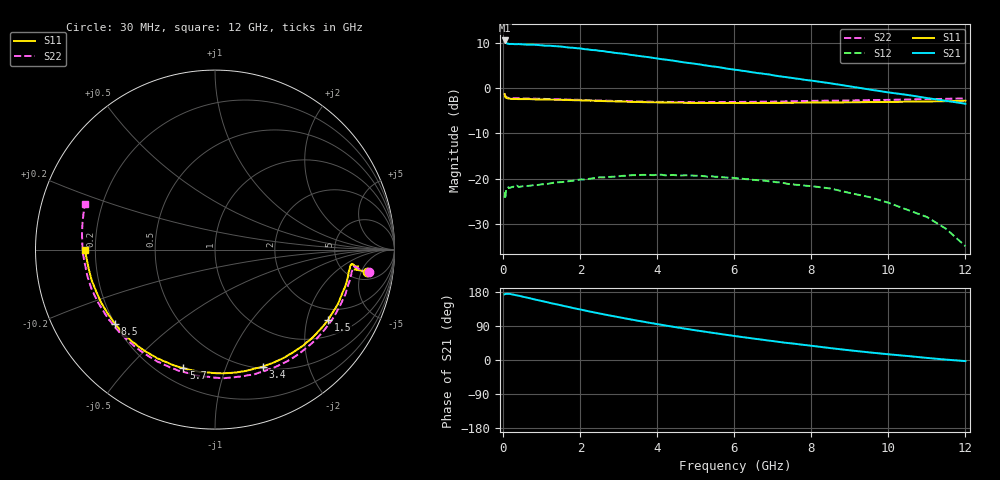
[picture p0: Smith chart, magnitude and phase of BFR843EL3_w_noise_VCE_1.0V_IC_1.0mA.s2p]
! Infineon Technologies  Discrete & RF Semiconductors
! BFR843EL3
! VCE =  1.0 V,  IC =  1.0 mA
! Common Emitter S-Parameters:  Aug 2013
# GHz  S  MA  R  50
!  f  S11  S21  S12  S22
! GHz  MAG  ANG  MAG  ANG  MAG  ANG  MAG  ANG
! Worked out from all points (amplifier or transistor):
!   103 points, 30 MHz to 12 GHz, reference 50 ohm
!   highest |S21| = 10.5 dB at 30 MHz (marker M1)
!   |S21| within 3 dB of that: start of sweep to 3.191 GHz
!   unconditionally stable (mu >= 1): 102.7 MHz to 715.2 MHz; 7.078 GHz to end of sweep
!   at 400 MHz: K = 1.03, MAG = 14.7 dB, |S12| = -21.8 dB
!   at 3.7 GHz: K = 0.74, MSG = 13.0 dB, |S12| = -19.1 dB
!   at 12 GHz: K = 7.93, MAG = 3.7 dB, |S12| = -34.8 dB
!   lowest NFmin = 1.54 dB at 450 MHz
!   S11 on the Smith chart (normalised r, x): 30 MHz: 6.91, -6.41; 1.5 GHz: 1.55, -2.71; 3.4 GHz: 0.52, -1.36; 5.7 GHz: 0.29, -0.72; 8.5 GHz: 0.20, -0.32; 12 GHz: 0.16, +0.00
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0.03  0.8563 -8.3  3.337 173.3  0.062 40.3  0.8691 -8.1
0.04  0.8289 -8.2  3.242 173.6  0.0699 31.5  0.839 -8.2
0.05  0.786 -8.1  3.21 174.5  0.0618 17.8  0.8174 -8.1
0.06  0.8026 -6.7  3.157 173.9  0.0702 25.7  0.8084 -7.6
0.08  0.7802 -6.4  3.105 174.6  0.0784 18.4  0.7934 -7.2
0.2  0.7608 -6.5  3.055 173.7  0.0806 7.9  0.7749 -8.2
0.4  0.755 -9.8  3.044 169.5  0.0815 5.6  0.77 -13.3
0.8  0.7506 -17.6  2.993 160.0  0.0855 5.2  0.7633 -24.6
1.5  0.7426 -31.8  2.857 144.2  0.0922 5.2  0.7502 -44.6
2.1  0.7305 -43.5  2.681 131.0  0.0986 2.2  0.7367 -60.6
2.6  0.7186 -53.2  2.548 120.7  0.1038 -1.4  0.7288 -72.8
3.4  0.7047 -67.7  2.291 105.4  0.1101 -8.1  0.7127 -90.9
4.1  0.6949 -79.6  2.078 93.0  0.1115 -14.9  0.7035 -104.8
4.9  0.6859 -92.7  1.867 79.8  0.109 -22.3  0.6996 -119.2
5.7  0.6829 -105.0  1.667 67.7  0.1043 -30.4  0.7006 -131.9
6.1  0.6843 -111.0  1.575 62.0  0.1013 -33.9  0.704 -138.0
7.3  0.6879 -127.9  1.325 45.8  0.0898 -45.3  0.7126 -154.0
8.5  0.6943 -143.5  1.126 31.3  0.0783 -56.7  0.7262 -168.2
9.5  0.6997 -155.3  0.965 20.1  0.0632 -68.0  0.7366 -178.4
10.5  0.7079 -165.8  0.839 10.5  0.0456 -80.2  0.7476 172.5
11.5  0.7165 -175.7  0.723 1.0  0.0282 -98.1  0.7605 164.3
12  0.7253 180.0  0.672 -2.9  0.0182 -107.9  0.7694 160.6
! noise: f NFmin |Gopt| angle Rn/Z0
0.45  1.54  0.4  4  0.43
0.9  1.59  0.39  15  0.45
1.5  1.63  0.39  24  0.47
1.9  1.66  0.4  29  0.47
2.4  1.71  0.41  36  0.42
3.5  1.86  0.39  60  0.38
5.5  2.19  0.41  94  0.29
8  2.64  0.47  137  0.21
10  2.99  0.47  192  0.17
